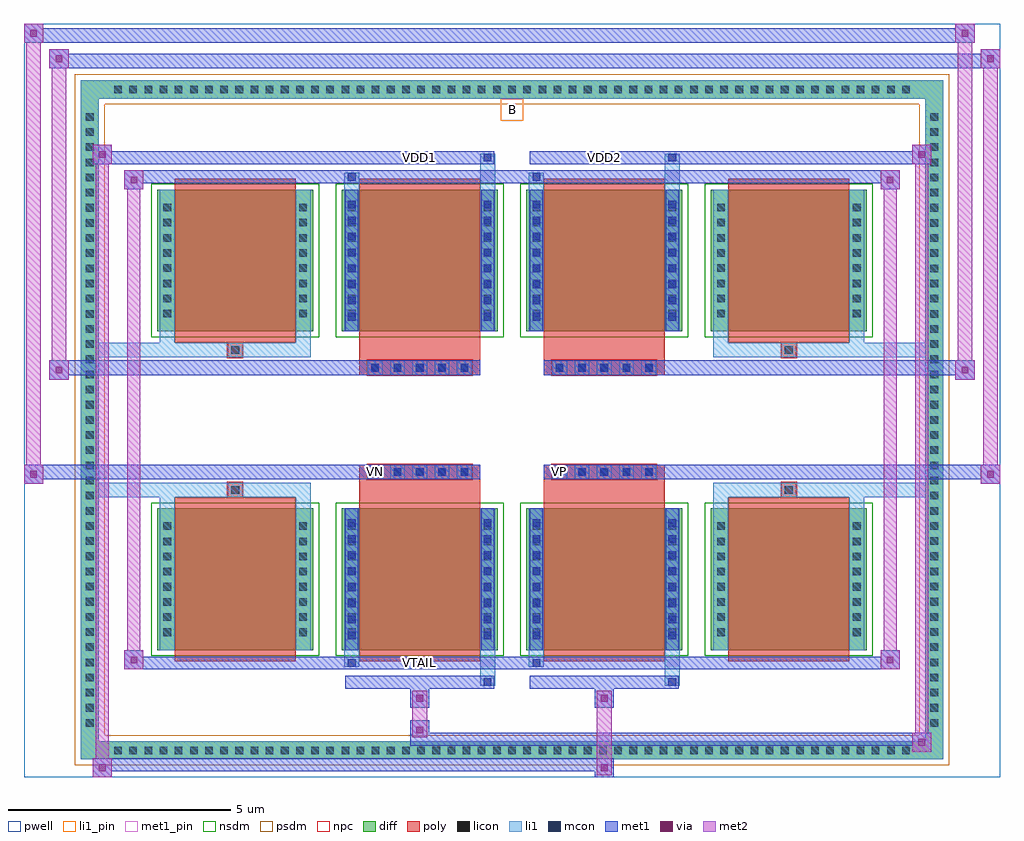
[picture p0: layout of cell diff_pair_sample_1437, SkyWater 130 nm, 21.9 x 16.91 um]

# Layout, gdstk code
import gdstk
lib = gdstk.Library(unit=1e-6, precision=5e-09)
def R(c, l, rs):  # rectangles x0, y0, x1, y1
    for r in rs: c.add(gdstk.rectangle(r[:2], r[2:], *l))
def A(c, l, x, y, w, h, nx, ny, dx, dy):  # array of equal rectangles
    R(c, l, [(x+i*dx, y+j*dy, x+i*dx+w, y+j*dy+h) for i in range(nx) for j in range(ny)])
def P(c, l, *ps):  # polygons
    for p in ps: c.add(gdstk.Polygon(p, *l))
pwell = (64, 44)
diff = (65, 20)
poly = (66, 20)
licon = (66, 44)
li1_pin = (67, 16)
li1 = (67, 20)
mcon = (67, 44)
met1_pin = (68, 16)
met1 = (68, 20)
via = (68, 44)
met2 = (69, 20)
nsdm = (93, 44)
psdm = (94, 20)
npc = (95, 20)

diff_pair_sample_1437 = lib.new_cell('diff_pair_sample_1437')
R(diff_pair_sample_1437, pwell, [(-10.95,-8.02,10.95,8.89), (-8.27,-6.21,-0.01,-0.805), (0.01,-6.21,8.27,-0.805), (-8.27,0.805,-0.01,6.21), (0.01,0.805,8.27,6.21)])
A(diff_pair_sample_1437, diff, -9.045, -7.62, 0.41, 0.41, 53, 2, 0.34, 14.83)
A(diff_pair_sample_1437, diff, -9.68, -7.005, 0.41, 0.41, 1, 41, 0, 0.34)
A(diff_pair_sample_1437, diff, 9.27, -7.005, 0.41, 0.41, 1, 41, 0, 0.34)
A(diff_pair_sample_1437, diff, -7.96, -5.165, 3.5, 3.18, 4, 2, 4.14, 7.15)
R(diff_pair_sample_1437, diff, [(-9.045,-7.62,9.045,-7.21), (-9.68,-7.005,-9.27,7.005), (9.27,-7.005,9.68,7.005), (-9.045,7.21,9.045,7.62)])
P(diff_pair_sample_1437, diff, [(9.68,7.62),(-9.68,7.62),(-9.68,-7.21),(-9.27,-7.21),(-9.27,7.21),(9.27,7.21),(9.27,-7.21),(-9.27,-7.21),(-9.68,-7.21),(-9.68,-7.62),(9.68,-7.62)])
A(diff_pair_sample_1437, poly, -7.57, -5.415, 2.72, 3.68, 4, 2, 4.14, 7.15)
A(diff_pair_sample_1437, poly, -3.235, -1.335, 0.33, 0.33, 5, 2, 0.5, 2.34)
A(diff_pair_sample_1437, poly, 0.905, -1.335, 0.33, 0.33, 5, 2, 0.5, 2.34)
R(diff_pair_sample_1437, poly, [(-6.375,-1.735,-6.045,-1.405), (-6.375,-1.735,-6.045,-1.405), (-3.43,-1.735,-0.71,-1.335), (0.71,-1.735,3.43,-1.335), (6.045,-1.735,6.375,-1.405), (6.045,-1.735,6.375,-1.405), (-3.43,-1.335,-0.71,-1.005), (0.71,-1.335,3.43,-1.005), (-3.43,1.005,-0.71,1.335), (0.71,1.005,3.43,1.335), (-3.43,1.335,-0.71,1.735), (0.71,1.335,3.43,1.735), (-6.375,1.405,-6.045,1.735), (-6.375,1.405,-6.045,1.735), (6.045,1.405,6.375,1.735), (6.045,1.405,6.375,1.735)])
A(diff_pair_sample_1437, licon, -8.925, -7.5, 0.17, 0.17, 53, 2, 0.34, 14.83)
A(diff_pair_sample_1437, licon, -9.56, -6.885, 0.17, 0.17, 1, 41, 0, 0.34)
A(diff_pair_sample_1437, licon, 9.39, -6.885, 0.17, 0.17, 1, 41, 0, 0.34)
A(diff_pair_sample_1437, licon, -7.82, -4.85, 0.17, 0.17, 1, 8, 0, 0.34)
A(diff_pair_sample_1437, licon, -4.77, -4.85, 0.17, 0.17, 1, 8, 0, 0.34)
A(diff_pair_sample_1437, licon, -3.68, -4.85, 0.17, 0.17, 1, 8, 0, 0.34)
A(diff_pair_sample_1437, licon, -0.63, -4.85, 0.17, 0.17, 1, 8, 0, 0.34)
A(diff_pair_sample_1437, licon, 0.46, -4.85, 0.17, 0.17, 1, 8, 0, 0.34)
A(diff_pair_sample_1437, licon, 3.51, -4.85, 0.17, 0.17, 1, 8, 0, 0.34)
A(diff_pair_sample_1437, licon, 4.6, -4.85, 0.17, 0.17, 1, 8, 0, 0.34)
A(diff_pair_sample_1437, licon, 7.65, -4.85, 0.17, 0.17, 1, 8, 0, 0.34)
A(diff_pair_sample_1437, licon, -3.155, -1.255, 0.17, 0.17, 5, 2, 0.5, 2.34)
A(diff_pair_sample_1437, licon, 0.985, -1.255, 0.17, 0.17, 5, 2, 0.5, 2.34)
A(diff_pair_sample_1437, licon, -7.82, 2.3, 0.17, 0.17, 1, 8, 0, 0.34)
A(diff_pair_sample_1437, licon, -4.77, 2.3, 0.17, 0.17, 1, 8, 0, 0.34)
A(diff_pair_sample_1437, licon, -3.68, 2.3, 0.17, 0.17, 1, 8, 0, 0.34)
A(diff_pair_sample_1437, licon, -0.63, 2.3, 0.17, 0.17, 1, 8, 0, 0.34)
A(diff_pair_sample_1437, licon, 0.46, 2.3, 0.17, 0.17, 1, 8, 0, 0.34)
A(diff_pair_sample_1437, licon, 3.51, 2.3, 0.17, 0.17, 1, 8, 0, 0.34)
A(diff_pair_sample_1437, licon, 4.6, 2.3, 0.17, 0.17, 1, 8, 0, 0.34)
A(diff_pair_sample_1437, licon, 7.65, 2.3, 0.17, 0.17, 1, 8, 0, 0.34)
R(diff_pair_sample_1437, licon, [(-6.295,-1.655,-6.125,-1.485), (6.125,-1.655,6.295,-1.485), (-6.295,1.485,-6.125,1.655), (6.125,1.485,6.295,1.655)])
R(diff_pair_sample_1437, li1_pin, [(-0.25,6.71,0.25,7.21)])
A(diff_pair_sample_1437, li1, -9.005, -7.58, 0.33, 0.33, 53, 2, 0.34, 14.83)
A(diff_pair_sample_1437, li1, -9.64, -6.965, 0.33, 0.33, 1, 41, 0, 0.34)
A(diff_pair_sample_1437, li1, 9.31, -6.965, 0.33, 0.33, 1, 41, 0, 0.34)
A(diff_pair_sample_1437, li1, -7.9, -4.93, 0.33, 0.33, 1, 8, 0, 0.34)
A(diff_pair_sample_1437, li1, -4.85, -4.93, 0.33, 0.33, 1, 8, 0, 0.34)
A(diff_pair_sample_1437, li1, -3.76, -4.93, 0.33, 0.33, 1, 8, 0, 0.34)
A(diff_pair_sample_1437, li1, -0.71, -4.93, 0.33, 0.33, 1, 8, 0, 0.34)
A(diff_pair_sample_1437, li1, 0.38, -4.93, 0.33, 0.33, 1, 8, 0, 0.34)
A(diff_pair_sample_1437, li1, 3.43, -4.93, 0.33, 0.33, 1, 8, 0, 0.34)
A(diff_pair_sample_1437, li1, 4.52, -4.93, 0.33, 0.33, 1, 8, 0, 0.34)
A(diff_pair_sample_1437, li1, 7.57, -4.93, 0.33, 0.33, 1, 8, 0, 0.34)
A(diff_pair_sample_1437, li1, -3.68, -4.92, 0.17, 0.17, 1, 8, 0, 0.36)
A(diff_pair_sample_1437, li1, -0.63, -4.92, 0.17, 0.17, 1, 8, 0, 0.36)
A(diff_pair_sample_1437, li1, 0.46, -4.92, 0.17, 0.17, 1, 8, 0, 0.36)
A(diff_pair_sample_1437, li1, 3.51, -4.92, 0.17, 0.17, 1, 8, 0, 0.36)
A(diff_pair_sample_1437, li1, -3.235, -1.335, 0.33, 0.33, 5, 2, 0.5, 2.34)
A(diff_pair_sample_1437, li1, 0.905, -1.335, 0.33, 0.33, 5, 2, 0.5, 2.34)
A(diff_pair_sample_1437, li1, -7.9, 2.22, 0.33, 0.33, 1, 8, 0, 0.34)
A(diff_pair_sample_1437, li1, -4.85, 2.22, 0.33, 0.33, 1, 8, 0, 0.34)
A(diff_pair_sample_1437, li1, -3.76, 2.22, 0.33, 0.33, 1, 8, 0, 0.34)
A(diff_pair_sample_1437, li1, -0.71, 2.22, 0.33, 0.33, 1, 8, 0, 0.34)
A(diff_pair_sample_1437, li1, 0.38, 2.22, 0.33, 0.33, 1, 8, 0, 0.34)
A(diff_pair_sample_1437, li1, 3.43, 2.22, 0.33, 0.33, 1, 8, 0, 0.34)
A(diff_pair_sample_1437, li1, 4.52, 2.22, 0.33, 0.33, 1, 8, 0, 0.34)
A(diff_pair_sample_1437, li1, 7.57, 2.22, 0.33, 0.33, 1, 8, 0, 0.34)
A(diff_pair_sample_1437, li1, -3.68, 2.23, 0.17, 0.17, 1, 8, 0, 0.36)
A(diff_pair_sample_1437, li1, -0.63, 2.23, 0.17, 0.17, 1, 8, 0, 0.36)
A(diff_pair_sample_1437, li1, 0.46, 2.23, 0.17, 0.17, 1, 8, 0, 0.36)
A(diff_pair_sample_1437, li1, 3.51, 2.23, 0.17, 0.17, 1, 8, 0, 0.36)
R(diff_pair_sample_1437, li1, [(-9.68,-7.62,-9.27,-7.21), (-9.68,-7.62,-9.27,-7.21), (-9.27,-7.62,9.27,-7.21), (9.27,-7.62,9.68,-7.21), (9.27,-7.62,9.68,-7.21), (-9.68,-7.21,-9.27,7.21), (9.27,-7.21,9.68,7.21), (-0.71,-5.97,-0.38,-5.165), (-0.63,-5.97,-0.46,-5.8), (3.43,-5.97,3.76,-5.165), (3.51,-5.97,3.68,-5.8), (-3.76,-5.54,-3.43,-5.165), (-3.68,-5.54,-3.51,-5.37), (0.38,-5.54,0.71,-5.165), (0.46,-5.54,0.63,-5.37), (-7.9,-5.165,-7.57,-1.985), (-4.85,-5.165,-4.52,-1.985), (-3.76,-5.165,-3.43,-1.985), (-0.71,-5.165,-0.38,-1.985), (0.38,-5.165,0.71,-1.985), (3.43,-5.165,3.76,-1.985), (4.52,-5.165,4.85,-1.985), (7.57,-5.165,7.9,-1.985), (-3.68,-4.92,-3.51,-2.23), (-0.63,-4.92,-0.46,-2.23), (0.46,-4.92,0.63,-2.23), (3.51,-4.92,3.68,-2.23), (-7.9,-1.985,-7.57,-1.405), (-4.85,-1.985,-4.52,-1.405), (4.52,-1.985,4.85,-1.405), (7.57,-1.985,7.9,-1.405), (-9.68,-1.735,-6.375,-1.405), (-7.9,-1.735,-6.375,-1.405), (-6.375,-1.735,-6.045,-1.405), (-6.045,-1.735,-4.52,-1.405), (4.52,-1.735,6.045,-1.405), (6.045,-1.735,6.375,-1.405), (6.045,-1.735,9.68,-1.405), (6.375,-1.735,7.9,-1.405), (-9.68,1.405,-6.375,1.735), (-7.9,1.405,-6.375,1.735), (-7.9,1.405,-7.57,1.985), (-6.375,1.405,-6.045,1.735), (-6.045,1.405,-4.52,1.735), (-4.85,1.405,-4.52,1.985), (4.52,1.405,6.045,1.735), (4.52,1.405,4.85,1.985), (6.045,1.405,6.375,1.735), (6.045,1.405,9.68,1.735), (6.375,1.405,7.9,1.735), (7.57,1.405,7.9,1.985), (-7.9,1.985,-7.57,5.165), (-4.85,1.985,-4.52,5.165), (-3.76,1.985,-3.43,5.165), (-0.71,1.985,-0.38,5.165), (0.38,1.985,0.71,5.165), (3.43,1.985,3.76,5.165), (4.52,1.985,4.85,5.165), (7.57,1.985,7.9,5.165), (-3.68,2.23,-3.51,4.92), (-0.63,2.23,-0.46,4.92), (0.46,2.23,0.63,4.92), (3.51,2.23,3.68,4.92), (-3.76,5.165,-3.43,5.54), (-0.71,5.165,-0.38,5.97), (0.38,5.165,0.71,5.54), (3.43,5.165,3.76,5.97), (-3.68,5.37,-3.51,5.54), (0.46,5.37,0.63,5.54), (-0.63,5.8,-0.46,5.97), (3.51,5.8,3.68,5.97), (-9.68,7.21,-9.27,7.62), (-9.68,7.21,-9.27,7.62), (-9.27,7.21,9.27,7.62), (9.27,7.21,9.68,7.62), (9.27,7.21,9.68,7.62)])
A(diff_pair_sample_1437, mcon, -3.68, -4.92, 0.17, 0.17, 1, 8, 0, 0.36)
A(diff_pair_sample_1437, mcon, -0.63, -4.92, 0.17, 0.17, 1, 8, 0, 0.36)
A(diff_pair_sample_1437, mcon, 0.46, -4.92, 0.17, 0.17, 1, 8, 0, 0.36)
A(diff_pair_sample_1437, mcon, 3.51, -4.92, 0.17, 0.17, 1, 8, 0, 0.36)
A(diff_pair_sample_1437, mcon, -3.155, -1.255, 0.17, 0.17, 5, 2, 0.5, 2.34)
A(diff_pair_sample_1437, mcon, 0.985, -1.255, 0.17, 0.17, 5, 2, 0.5, 2.34)
A(diff_pair_sample_1437, mcon, -3.68, 2.23, 0.17, 0.17, 1, 8, 0, 0.36)
A(diff_pair_sample_1437, mcon, -0.63, 2.23, 0.17, 0.17, 1, 8, 0, 0.36)
A(diff_pair_sample_1437, mcon, 0.46, 2.23, 0.17, 0.17, 1, 8, 0, 0.36)
A(diff_pair_sample_1437, mcon, 3.51, 2.23, 0.17, 0.17, 1, 8, 0, 0.36)
R(diff_pair_sample_1437, mcon, [(-0.63,-5.97,-0.46,-5.8), (3.51,-5.97,3.68,-5.8), (-3.68,-5.54,-3.51,-5.37), (0.46,-5.54,0.63,-5.37), (-3.68,5.37,-3.51,5.54), (0.46,5.37,0.63,5.54), (-0.63,5.8,-0.46,5.97), (3.51,5.8,3.68,5.97)])
R(diff_pair_sample_1437, met1_pin, [(-2.205,-5.58,-1.935,-5.31), (-3.205,-1.295,-2.935,-1.025), (0.935,-1.295,1.205,-1.025), (-2.205,5.76,-1.935,6.03), (1.935,5.76,2.205,6.03)])
A(diff_pair_sample_1437, met1, -3.74, -4.98, 0.29, 0.29, 1, 8, 0, 0.36)
A(diff_pair_sample_1437, met1, -0.69, -4.98, 0.29, 0.29, 1, 8, 0, 0.36)
A(diff_pair_sample_1437, met1, 0.4, -4.98, 0.29, 0.29, 1, 8, 0, 0.36)
A(diff_pair_sample_1437, met1, 3.45, -4.98, 0.29, 0.29, 1, 8, 0, 0.36)
A(diff_pair_sample_1437, met1, -3.215, -1.315, 0.29, 0.29, 5, 2, 0.5, 2.34)
A(diff_pair_sample_1437, met1, 0.925, -1.315, 0.29, 0.29, 5, 2, 0.5, 2.34)
A(diff_pair_sample_1437, met1, -3.74, 2.17, 0.29, 0.29, 1, 8, 0, 0.36)
A(diff_pair_sample_1437, met1, -0.69, 2.17, 0.29, 0.29, 1, 8, 0, 0.36)
A(diff_pair_sample_1437, met1, 0.4, 2.17, 0.29, 0.29, 1, 8, 0, 0.36)
A(diff_pair_sample_1437, met1, 3.45, 2.17, 0.29, 0.29, 1, 8, 0, 0.36)
R(diff_pair_sample_1437, met1, [(-9.41,-8.02,-8.98,-7.59), (1.855,-8.02,2.285,-7.59), (-9.41,-7.88,2.285,-7.59), (8.98,-7.45,9.41,-7.02), (-2.285,-7.31,9.41,-7.02), (-2.285,-7.17,-1.855,-6.74), (-2.285,-6.46,-1.855,-6.03), (1.855,-6.46,2.285,-6.03), (-3.74,-6.03,-0.4,-5.74), (-0.69,-6.03,-0.4,-5.74), (0.4,-6.03,3.74,-5.74), (3.45,-6.03,3.74,-5.74), (-8.7,-5.6,-8.27,-5.17), (-8.7,-5.6,-3.74,-5.31), (-3.74,-5.6,-3.45,-5.31), (-3.74,-5.6,-0.4,-5.31), (-0.4,-5.6,0.4,-5.31), (0.4,-5.6,0.69,-5.31), (0.4,-5.6,3.74,-5.31), (3.74,-5.6,8.7,-5.31), (8.27,-5.6,8.7,-5.17), (-3.74,-5.165,-3.45,-1.985), (-0.69,-5.165,-0.4,-1.985), (0.4,-5.165,0.69,-1.985), (3.45,-5.165,3.74,-1.985), (-10.95,-1.435,-10.52,-1.005), (10.52,-1.435,10.95,-1.005), (-10.95,-1.335,-0.71,-1.005), (-3.43,-1.335,-0.71,-1.005), (0.71,-1.335,3.43,-1.005), (0.71,-1.335,10.95,-1.005), (-10.38,0.905,-9.95,1.335), (9.95,0.905,10.38,1.335), (-10.38,1.005,-3.43,1.335), (-3.43,1.005,-0.71,1.335), (0.71,1.005,3.43,1.335), (3.43,1.005,10.38,1.335), (-3.74,1.985,-3.45,5.165), (-0.69,1.985,-0.4,5.165), (0.4,1.985,0.69,5.165), (3.45,1.985,3.74,5.165), (-8.7,5.17,-8.27,5.6), (8.27,5.17,8.7,5.6), (-8.7,5.31,-3.74,5.6), (-3.74,5.31,-3.45,5.6), (-3.74,5.31,-0.4,5.6), (-0.4,5.31,0.4,5.6), (0.4,5.31,0.69,5.6), (0.4,5.31,3.74,5.6), (3.74,5.31,8.7,5.6), (-9.41,5.74,-8.98,6.17), (-9.41,5.74,-3.74,6.03), (-3.74,5.74,-0.4,6.03), (-0.69,5.74,-0.4,6.03), (0.4,5.74,3.74,6.03), (3.45,5.74,3.74,6.03), (3.74,5.74,9.41,6.03), (8.98,5.74,9.41,6.17), (-10.38,7.89,-9.95,8.32), (-10.38,7.89,-8.27,8.22), (-8.27,7.89,8.27,8.22), (8.27,7.89,10.95,8.22), (10.52,7.89,10.95,8.32), (-10.95,8.46,-10.52,8.89), (-10.95,8.46,-8.27,8.79), (-8.27,8.46,8.27,8.79), (8.27,8.46,10.38,8.79), (9.95,8.46,10.38,8.89)])
R(diff_pair_sample_1437, via, [(-9.27,-7.88,-9.12,-7.73), (1.995,-7.88,2.145,-7.73), (9.12,-7.31,9.27,-7.16), (-2.145,-7.03,-1.995,-6.88), (-2.145,-6.32,-1.995,-6.17), (1.995,-6.32,2.145,-6.17), (-8.56,-5.46,-8.41,-5.31), (8.41,-5.46,8.56,-5.31), (-10.81,-1.295,-10.66,-1.145), (10.66,-1.295,10.81,-1.145), (-10.24,1.045,-10.09,1.195), (10.09,1.045,10.24,1.195), (-8.56,5.31,-8.41,5.46), (8.41,5.31,8.56,5.46), (-9.27,5.88,-9.12,6.03), (9.12,5.88,9.27,6.03), (-10.24,8.03,-10.09,8.18), (10.66,8.03,10.81,8.18), (-10.81,8.6,-10.66,8.75), (10.09,8.6,10.24,8.75)])
R(diff_pair_sample_1437, met2, [(-9.41,-8.02,-8.98,-7.59), (-9.34,-8.02,-9.05,6.17), (-9.05,-8.02,-8.98,-7.59), (-9.36,-7.97,-9.03,-7.64), (1.905,-7.97,2.235,-7.64), (1.905,-7.64,2.235,-6.41), (8.98,-7.45,9.41,-7.02), (9.05,-7.45,9.34,6.17), (9.34,-7.45,9.41,-7.02), (9.03,-7.4,9.36,-7.07), (-2.235,-7.12,-1.905,-6.79), (-2.235,-6.79,-1.905,-6.41), (-2.235,-6.41,-1.905,-6.08), (1.905,-6.41,2.235,-6.08), (-8.7,-5.6,-8.27,-5.17), (-8.63,-5.6,-8.34,5.6), (-8.34,-5.6,-8.27,-5.17), (8.27,-5.6,8.7,-5.17), (8.34,-5.6,8.63,5.6), (8.63,-5.6,8.7,-5.17), (-8.65,-5.55,-8.32,-5.22), (8.32,-5.55,8.65,-5.22), (-10.95,-1.435,-10.52,-1.005), (-10.9,-1.435,-10.57,8.89), (-10.57,-1.435,-10.52,-1.005), (10.52,-1.435,10.95,-1.005), (10.57,-1.435,10.9,8.32), (10.9,-1.435,10.95,-1.005), (-10.9,-1.385,-10.57,-1.055), (10.57,-1.385,10.9,-1.055), (-10.38,0.905,-9.95,1.335), (-10.33,0.905,-10,8.32), (-10,0.905,-9.95,1.335), (9.95,0.905,10.38,1.335), (10,0.905,10.33,8.89), (10.33,0.905,10.38,1.335), (-10.33,0.955,-10,1.285), (10,0.955,10.33,1.285), (-8.7,5.17,-8.27,5.6), (-8.34,5.17,-8.27,5.6), (8.27,5.17,8.7,5.6), (8.63,5.17,8.7,5.6), (-8.65,5.22,-8.32,5.55), (8.32,5.22,8.65,5.55), (-9.41,5.74,-8.98,6.17), (-9.05,5.74,-8.98,6.17), (8.98,5.74,9.41,6.17), (9.34,5.74,9.41,6.17), (-9.36,5.79,-9.03,6.12), (9.03,5.79,9.36,6.12), (-10.38,7.89,-9.95,8.32), (-10,7.89,-9.95,8.32), (10.52,7.89,10.95,8.32), (10.9,7.89,10.95,8.32), (-10.33,7.94,-10,8.27), (10.57,7.94,10.9,8.27), (-10.95,8.46,-10.52,8.89), (-10.57,8.46,-10.52,8.89), (9.95,8.46,10.38,8.89), (10.33,8.46,10.38,8.89), (-10.9,8.51,-10.57,8.84), (10,8.51,10.33,8.84)])
A(diff_pair_sample_1437, nsdm, -8.09, -5.295, 3.76, 3.44, 4, 2, 4.14, 7.15)
P(diff_pair_sample_1437, psdm, [(9.81,7.75),(-9.81,7.75),(-9.81,-7.08),(-9.14,-7.08),(-9.14,7.08),(9.14,7.08),(9.14,-7.08),(-9.14,-7.08),(-9.81,-7.08),(-9.81,-7.75),(9.81,-7.75)])
A(diff_pair_sample_1437, npc, -3.255, -1.355, 0.37, 0.37, 5, 2, 0.5, 2.34)
A(diff_pair_sample_1437, npc, 0.885, -1.355, 0.37, 0.37, 5, 2, 0.5, 2.34)
R(diff_pair_sample_1437, npc, [(-6.395,-1.755,-6.025,-1.385), (6.025,-1.755,6.395,-1.385), (-3.255,-1.355,-2.385,-0.985), (-3.255,-1.355,-2.385,-0.985), (-2.755,-1.355,-1.885,-0.985), (-2.755,-1.355,-1.885,-0.985), (-2.255,-1.355,-1.385,-0.985), (-2.255,-1.355,-1.385,-0.985), (-1.755,-1.355,-0.885,-0.985), (-1.755,-1.355,-0.885,-0.985), (0.885,-1.355,1.755,-0.985), (0.885,-1.355,1.755,-0.985), (1.385,-1.355,2.255,-0.985), (1.385,-1.355,2.255,-0.985), (1.885,-1.355,2.755,-0.985), (1.885,-1.355,2.755,-0.985), (2.385,-1.355,3.255,-0.985), (2.385,-1.355,3.255,-0.985), (-3.255,0.985,-2.385,1.355), (-3.255,0.985,-2.385,1.355), (-2.755,0.985,-1.885,1.355), (-2.755,0.985,-1.885,1.355), (-2.255,0.985,-1.385,1.355), (-2.255,0.985,-1.385,1.355), (-1.755,0.985,-0.885,1.355), (-1.755,0.985,-0.885,1.355), (0.885,0.985,1.755,1.355), (0.885,0.985,1.755,1.355), (1.385,0.985,2.255,1.355), (1.385,0.985,2.255,1.355), (1.885,0.985,2.755,1.355), (1.885,0.985,2.755,1.355), (2.385,0.985,3.255,1.355), (2.385,0.985,3.255,1.355), (-6.395,1.385,-6.025,1.755), (6.025,1.385,6.395,1.755)])
diff_pair_sample_1437.add(gdstk.Label('VTAIL', (-2.07,-5.445), layer=68, texttype=5))
diff_pair_sample_1437.add(gdstk.Label('VN', (-3.07,-1.16), layer=68, texttype=5))
diff_pair_sample_1437.add(gdstk.Label('VP', (1.07,-1.16), layer=68, texttype=5))
diff_pair_sample_1437.add(gdstk.Label('B', (0,6.96), layer=67, texttype=5))
diff_pair_sample_1437.add(gdstk.Label('VDD2', (2.07,5.895), layer=68, texttype=5))
diff_pair_sample_1437.add(gdstk.Label('VDD1', (-2.07,5.895), layer=68, texttype=5))

lib.write_gds('diff_pair_sample_1437.gds')
